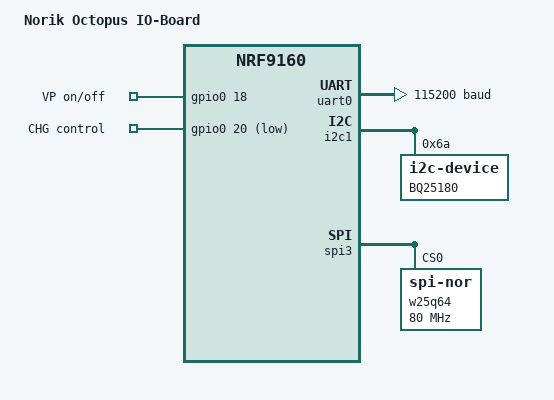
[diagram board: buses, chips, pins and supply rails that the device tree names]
/*
 * Copyright (c) 2024 Norik systems d.o.o.
 * SPDX-License-Identifier: Apache-2.0
 */
#include "norik_octopus_io_board_common-pinctrl.dtsi"
#include "../octopus_som/norik_octopus_som_common.dtsi"

/ {
	model = "Norik Octopus IO-Board";
	compatible = "norik,octopus-io-board";

	chosen {
		zephyr,console = &uart0;
		zephyr,shell-uart = &uart0;
		zephyr,uart-mcumgr = &uart0;
	};

	peripheral-power-controller {
		compatible = "gpio-keys";

		pwrgpio0: pwrgpio_0 {
			label = "VP on/off";
			gpios = <&gpio0 18 GPIO_ACTIVE_HIGH>;
		};

		pwrgpio1: pwrgpio_1 {
			label = "CHG control";
			gpios = <&gpio0 20 (GPIO_ACTIVE_LOW)>;
		};

	};

	/* These aliases are provided for compatibility with samples */
	aliases {
		watchdog0 = &wdt0;
		ldoctrl = &pwrgpio0;
		chgctrl = &pwrgpio1;
		w25q64 = &w25q64;
		bq25180 = &bq25180;
	};
};

&uart0 {
	status = "okay";
	current-speed = <115200>;
	pinctrl-0 = <&uart0_default>;
	pinctrl-1 = <&uart0_sleep>;
	pinctrl-names = "default", "sleep";
};

&i2c1 {
	compatible = "nordic,nrf-twim";
	status = "okay";
	pinctrl-0 = <&i2c0_default>;
	pinctrl-1 = <&i2c0_sleep>;
	pinctrl-names = "default", "sleep";
	 
	bq25180: bq25180@6a {
		compatible = "i2c-device";
		status = "okay";
		label = "BQ25180";
		reg = <0x6a>;
	};
};

&spi3 {	
	w25q64: w25q64@0 {
		compatible = "jedec,spi-nor";
		reg = <0>;
		spi-max-frequency = <80000000>;
		jedec-id = [ef 40 17];
		size = <0x4000000>;
		has-dpd;
		t-enter-dpd = <3500>;
		t-exit-dpd = <3500>;
	};
};

&flash0 {
	partitions {
		compatible = "fixed-partitions";
		#address-cells = <1>;
		#size-cells = <1>;

		boot_partition: partition@0 {
			label = "mcuboot";
			reg = <0x00000000 0x10000>;
		};
		slot0_partition: partition@10000 {
			label = "image-0";
		};
		slot0_ns_partition: partition@50000 {
			label = "image-0-nonsecure";
		};
		slot1_partition: partition@80000 {
			label = "image-1";
		};
		slot1_ns_partition: partition@c0000 {
			label = "image-1-nonsecure";
		};
		storage_partition: partition@f8000 {
			label = "storage";
			reg = <0x000f8000 0x00008000>;
		};
	};
};

/ {
	reserved-memory {
		#address-cells = <1>;
		#size-cells = <1>;
		ranges;

		sram0_s: image_s@20000000 {
			/* Secure image memory */
		};

		sram0_modem: image_modem@20016000 {
			/* Modem (shared) memory */
		};

		sram0_ns: image_ns@20020000 {
			/* Non-Secure image memory */
		};
	};
};

/* Include partition configuration file */
#include "norik_octopus_io_board_nrf9160_partition_conf.dtsi"
